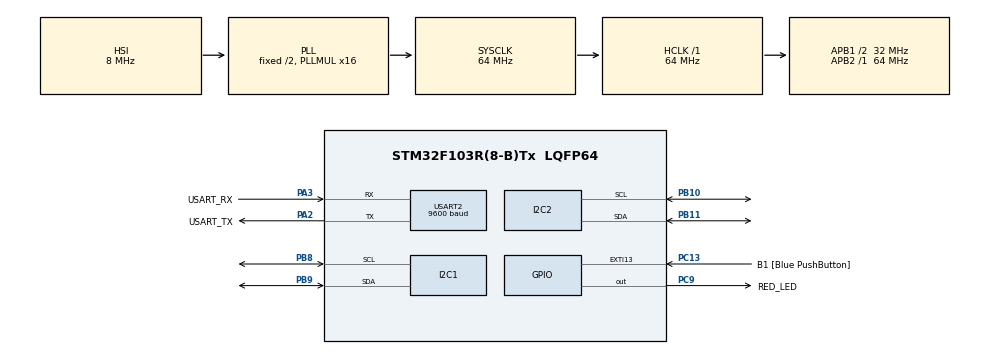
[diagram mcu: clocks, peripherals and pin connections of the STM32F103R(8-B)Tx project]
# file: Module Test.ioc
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Mcu.Family=STM32F1
Mcu.Name=STM32F103R(8-B)Tx
Mcu.Package=LQFP64
NVIC.EXTI15_10_IRQn=true\:0\:0\:false\:false\:true\:true\:true
NVIC.PriorityGroup=NVIC_PRIORITYGROUP_4
NVIC.TIM2_IRQn=true\:0\:0\:false\:false\:true\:true\:true
PA13.GPIO_Label=TMS
PA13.Signal=SYS_JTMS-SWDIO
PA14.GPIO_Label=TCK
PA14.Signal=SYS_JTCK-SWCLK
PA2.GPIO_Label=USART_TX
PA2.GPIO_Mode=GPIO_MODE_AF_PP
PA2.GPIO_PuPd=GPIO_NOPULL
PA2.GPIO_Speed=GPIO_SPEED_FREQ_LOW
PA2.Mode=Asynchronous
PA2.Signal=USART2_TX
PA3.GPIO_Label=USART_RX
PA3.GPIO_Mode=GPIO_MODE_AF_PP
PA3.GPIO_PuPd=GPIO_NOPULL
PA3.GPIO_Speed=GPIO_SPEED_FREQ_LOW
PA3.Mode=Asynchronous
PA3.Signal=USART2_RX
PB10.Mode=I2C
PB10.Signal=I2C2_SCL
PB11.Mode=I2C
PB11.Signal=I2C2_SDA
PB3.GPIO_Label=SWO
PB3.Signal=SYS_JTDO-TRACESWO
PB8.Mode=I2C
PB8.Signal=I2C1_SCL
PB9.Mode=I2C
PB9.Signal=I2C1_SDA
PC13-TAMPER-RTC.GPIO_Label=B1 [Blue PushButton]
PC13-TAMPER-RTC.GPIO_PuPd=GPIO_NOPULL
PC13-TAMPER-RTC.Signal=GPXTI13
PC14-OSC32_IN.Mode=LSE-External-Oscillator
PC14-OSC32_IN.Signal=RCC_OSC32_IN
PC15-OSC32_OUT.Mode=LSE-External-Oscillator
PC15-OSC32_OUT.Signal=RCC_OSC32_OUT
PC9.GPIO_Label=RED_LED
PC9.Signal=GPIO_Output
PD0-OSC_IN.Mode=HSE-External-Clock-Source
PD0-OSC_IN.Signal=RCC_OSC_IN
PD1-OSC_OUT.Mode=HSE-External-Clock-Source
PD1-OSC_OUT.Signal=RCC_OSC_OUT
ProjectManager.HeapSize=0x200
ProjectManager.StackSize=0x400
ProjectManager.TargetToolchain=STM32CubeIDE
RCC.AHBFreq_Value=64000000
RCC.APB1CLKDivider=RCC_HCLK_DIV2
RCC.APB1Freq_Value=32000000
RCC.APB1TimFreq_Value=64000000
RCC.APB2Freq_Value=64000000
RCC.APB2TimFreq_Value=64000000
RCC.HCLKFreq_Value=64000000
RCC.PLLMUL=RCC_PLL_MUL16
RCC.RTCClockSelection=RCC_RTCCLKSOURCE_LSE
RCC.SYSCLKFreq_VALUE=64000000
RCC.SYSCLKSource=RCC_SYSCLKSOURCE_PLLCLK
RCC.USBFreq_Value=64000000
TIM2.Period=9
TIM2.Prescaler=63999
USART2.BaudRate=9600
USART2.VirtualMode=VM_ASYNC
VP_SYS_VS_ND.Mode=No_Debug
VP_TIM2_VS_ClockSourceINT.Mode=Internal
board=NUCLEO-F103RB

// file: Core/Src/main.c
/* USER CODE BEGIN Header */
/**
  ******************************************************************************
  * @file           : main.c
  * @brief          : Main program body
  ******************************************************************************
  * @attention
  *
  * <h2><center>&copy; Copyright (c) 2024 STMicroelectronics.
  * All rights reserved.</center></h2>
  *
  * This software component is licensed by ST under BSD 3-Clause license,
  * the "License"; You may not use this file except in compliance with the
  * License. You may obtain a copy of the License at:
  *                        opensource.org/licenses/BSD-3-Clause
  *
  ******************************************************************************
  */
/* USER CODE END Header */
#include "main.h"

/* USER CODE BEGIN Includes */
#include "scheduler.h"
#include "test_lcd.h"
#include "dht20.h"

/* USER CODE END Includes */

/* USER CODE BEGIN PM */
float RH = 0;
float Temp = 0;
/* USER CODE END PM */

I2C_HandleTypeDef hi2c1;
I2C_HandleTypeDef hi2c2;

TIM_HandleTypeDef htim2;

UART_HandleTypeDef huart2;

/* USER CODE BEGIN PV */
void getSend(){
	Status_Trigger_DHT20 check_sensor = trigger_measurement_data_dht20();
		  	  char buffer[50];  // Tăng kích thước buffer để chứa toàn bộ chuỗi

		  	  if (check_sensor == DHT20_OK)
		  	  {
		  	      snprintf(buffer, sizeof(buffer), "Humidity:%0.1f\r\n", RH);
		  	      HAL_UART_Transmit(&huart2, (uint8_t*)buffer, strlen(buffer), HAL_MAX_DELAY);
		  	      lcd_goto_XY (1, 0);
		  	      lcd_send_string (buffer);
		  	      snprintf(buffer, sizeof(buffer), "Temperature:%0.1f\r\n", Temp);
		  	      HAL_UART_Transmit(&huart2, (uint8_t*)buffer, strlen(buffer), HAL_MAX_DELAY);

				  lcd_goto_XY (2, 0);
				  lcd_send_string (buffer);

		  	  }
		  	  else if (check_sensor == DHT20_BUSY)
		  	  {
		  	      snprintf(buffer, sizeof(buffer), "Humidity: --BUSY--\r\n");
		  	      HAL_UART_Transmit(&huart2, (uint8_t*)buffer, strlen(buffer), HAL_MAX_DELAY);

		  	      snprintf(buffer, sizeof(buffer), "Temperature: --BUSY--\r\n");
		  	      HAL_UART_Transmit(&huart2, (uint8_t*)buffer, strlen(buffer), HAL_MAX_DELAY);
		  	  }
		  	  else
		  	  {
		  	      snprintf(buffer, sizeof(buffer), "Humidity: --NONE--\r\n");
		  	      HAL_UART_Transmit(&huart2, (uint8_t*)buffer, strlen(buffer), HAL_MAX_DELAY);

		  	      snprintf(buffer, sizeof(buffer), "Temperature: --NONE--\r\n");
		  	      HAL_UART_Transmit(&huart2, (uint8_t*)buffer, strlen(buffer), HAL_MAX_DELAY);
		  	  }
}

void blinkyled(){
	HAL_GPIO_TogglePin(RED_LED_GPIO_Port, RED_LED_Pin);
}

/* USER CODE END PV */

void SystemClock_Config(void);
static void MX_GPIO_Init(void);
static void MX_TIM2_Init(void);
static void MX_I2C2_Init(void);
static void MX_I2C1_Init(void);
static void MX_USART2_UART_Init(void);

int main(void)
{

  /* MCU Configuration--------------------------------------------------------*/

  /* Reset of all peripherals, Initializes the Flash interface and the Systick. */
  HAL_Init();

  /* Configure the system clock */
  SystemClock_Config();

  /* Initialize all configured peripherals */
  MX_GPIO_Init();
  MX_TIM2_Init();
  MX_I2C2_Init();
  MX_I2C1_Init();
  MX_USART2_UART_Init();
  HAL_TIM_Base_Start_IT(&htim2);

  /* Infinite loop */
  /* USER CODE BEGIN WHILE */
  SCH_Init();
  lcd_init();
  lcd_clear_display();

  SCH_Add_Task(getSend, 10, 1000);
  SCH_Add_Task(blinkyled, 0, 1000);

  while (1)
  {

    /* USER CODE END WHILE */

    /* USER CODE BEGIN 3 */

	  SCH_Dispatch_Tasks();

  }
  /* USER CODE END 3 */
}

void SystemClock_Config(void)
{
  RCC_OscInitTypeDef RCC_OscInitStruct = {0};
  RCC_ClkInitTypeDef RCC_ClkInitStruct = {0};

  /** Initializes the RCC Oscillators according to the specified parameters
  * in the RCC_OscInitTypeDef structure.
  */
  RCC_OscInitStruct.OscillatorType = RCC_OSCILLATORTYPE_HSI;
  RCC_OscInitStruct.HSIState = RCC_HSI_ON;
  RCC_OscInitStruct.HSICalibrationValue = RCC_HSICALIBRATION_DEFAULT;
  RCC_OscInitStruct.PLL.PLLState = RCC_PLL_ON;
  RCC_OscInitStruct.PLL.PLLSource = RCC_PLLSOURCE_HSI_DIV2;
  RCC_OscInitStruct.PLL.PLLMUL = RCC_PLL_MUL16;
  if (HAL_RCC_OscConfig(&RCC_OscInitStruct) != HAL_OK)
  {
    Error_Handler();
  }
  /** Initializes the CPU, AHB and APB buses clocks
  */
  RCC_ClkInitStruct.ClockType = RCC_CLOCKTYPE_HCLK|RCC_CLOCKTYPE_SYSCLK
                              |RCC_CLOCKTYPE_PCLK1|RCC_CLOCKTYPE_PCLK2;
  RCC_ClkInitStruct.SYSCLKSource = RCC_SYSCLKSOURCE_PLLCLK;
  RCC_ClkInitStruct.AHBCLKDivider = RCC_SYSCLK_DIV1;
  RCC_ClkInitStruct.APB1CLKDivider = RCC_HCLK_DIV2;
  RCC_ClkInitStruct.APB2CLKDivider = RCC_HCLK_DIV1;

  if (HAL_RCC_ClockConfig(&RCC_ClkInitStruct, FLASH_LATENCY_2) != HAL_OK)
  {
    Error_Handler();
  }
}

static void MX_I2C1_Init(void)
{

  hi2c1.Instance = I2C1;
  hi2c1.Init.ClockSpeed = 100000;
  hi2c1.Init.DutyCycle = I2C_DUTYCYCLE_2;
  hi2c1.Init.OwnAddress1 = 0;
  hi2c1.Init.AddressingMode = I2C_ADDRESSINGMODE_7BIT;
  hi2c1.Init.DualAddressMode = I2C_DUALADDRESS_DISABLE;
  hi2c1.Init.OwnAddress2 = 0;
  hi2c1.Init.GeneralCallMode = I2C_GENERALCALL_DISABLE;
  hi2c1.Init.NoStretchMode = I2C_NOSTRETCH_DISABLE;
  if (HAL_I2C_Init(&hi2c1) != HAL_OK)
  {
    Error_Handler();
  }

}

static void MX_I2C2_Init(void)
{

  hi2c2.Instance = I2C2;
  hi2c2.Init.ClockSpeed = 100000;
  hi2c2.Init.DutyCycle = I2C_DUTYCYCLE_2;
  hi2c2.Init.OwnAddress1 = 0;
  hi2c2.Init.AddressingMode = I2C_ADDRESSINGMODE_7BIT;
  hi2c2.Init.DualAddressMode = I2C_DUALADDRESS_DISABLE;
  hi2c2.Init.OwnAddress2 = 0;
  hi2c2.Init.GeneralCallMode = I2C_GENERALCALL_DISABLE;
  hi2c2.Init.NoStretchMode = I2C_NOSTRETCH_DISABLE;
  if (HAL_I2C_Init(&hi2c2) != HAL_OK)
  {
    Error_Handler();
  }

}

static void MX_TIM2_Init(void)
{

  TIM_ClockConfigTypeDef sClockSourceConfig = {0};
  TIM_MasterConfigTypeDef sMasterConfig = {0};

  htim2.Instance = TIM2;
  htim2.Init.Prescaler = 63999;
  htim2.Init.CounterMode = TIM_COUNTERMODE_UP;
  htim2.Init.Period = 9;
  htim2.Init.ClockDivision = TIM_CLOCKDIVISION_DIV1;
  htim2.Init.AutoReloadPreload = TIM_AUTORELOAD_PRELOAD_DISABLE;
  if (HAL_TIM_Base_Init(&htim2) != HAL_OK)
  {
    Error_Handler();
  }
  sClockSourceConfig.ClockSource = TIM_CLOCKSOURCE_INTERNAL;
  if (HAL_TIM_ConfigClockSource(&htim2, &sClockSourceConfig) != HAL_OK)
  {
    Error_Handler();
  }
  sMasterConfig.MasterOutputTrigger = TIM_TRGO_RESET;
  sMasterConfig.MasterSlaveMode = TIM_MASTERSLAVEMODE_DISABLE;
  if (HAL_TIMEx_MasterConfigSynchronization(&htim2, &sMasterConfig) != HAL_OK)
  {
    Error_Handler();
  }

}

static void MX_USART2_UART_Init(void)
{

  huart2.Instance = USART2;
  huart2.Init.BaudRate = 9600;
  huart2.Init.WordLength = UART_WORDLENGTH_8B;
  huart2.Init.StopBits = UART_STOPBITS_1;
  huart2.Init.Parity = UART_PARITY_NONE;
  huart2.Init.Mode = UART_MODE_TX_RX;
  huart2.Init.HwFlowCtl = UART_HWCONTROL_NONE;
  huart2.Init.OverSampling = UART_OVERSAMPLING_16;
  if (HAL_UART_Init(&huart2) != HAL_OK)
  {
    Error_Handler();
  }

}

static void MX_GPIO_Init(void)
{
  GPIO_InitTypeDef GPIO_InitStruct = {0};

  /* GPIO Ports Clock Enable */
  __HAL_RCC_GPIOC_CLK_ENABLE();
  __HAL_RCC_GPIOD_CLK_ENABLE();
  __HAL_RCC_GPIOA_CLK_ENABLE();
  __HAL_RCC_GPIOB_CLK_ENABLE();

  /*Configure GPIO pin Output Level */
  HAL_GPIO_WritePin(RED_LED_GPIO_Port, RED_LED_Pin, GPIO_PIN_RESET);

  /*Configure GPIO pin : B1_Pin */
  GPIO_InitStruct.Pin = B1_Pin;
  GPIO_InitStruct.Mode = GPIO_MODE_IT_RISING;
  GPIO_InitStruct.Pull = GPIO_NOPULL;
  HAL_GPIO_Init(B1_GPIO_Port, &GPIO_InitStruct);

  /*Configure GPIO pin : RED_LED_Pin */
  GPIO_InitStruct.Pin = RED_LED_Pin;
  GPIO_InitStruct.Mode = GPIO_MODE_OUTPUT_PP;
  GPIO_InitStruct.Pull = GPIO_NOPULL;
  GPIO_InitStruct.Speed = GPIO_SPEED_FREQ_LOW;
  HAL_GPIO_Init(RED_LED_GPIO_Port, &GPIO_InitStruct);

  /* EXTI interrupt init*/
  HAL_NVIC_SetPriority(EXTI15_10_IRQn, 0, 0);
  HAL_NVIC_EnableIRQ(EXTI15_10_IRQn);

}

/* USER CODE BEGIN 4 */
void HAL_TIM_PeriodElapsedCallback(TIM_HandleTypeDef *htim2)
	{
		SCH_Update();
	}
/* USER CODE END 4 */

void Error_Handler(void)
{
  __disable_irq();
  while (1)
  {
  }
}

/************************ (C) COPYRIGHT STMicroelectronics *****END OF FILE****/
